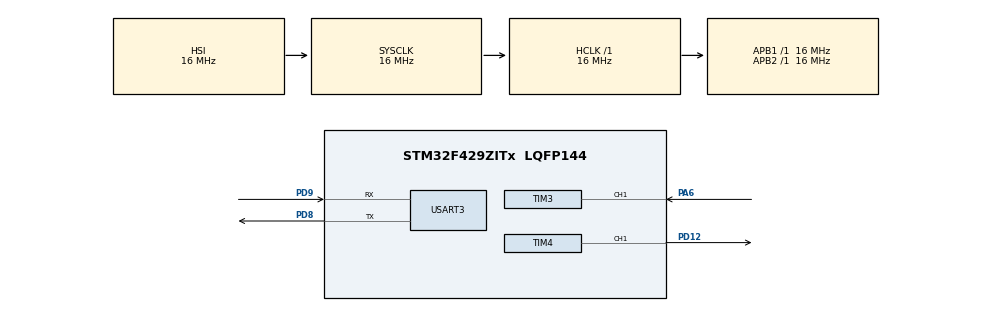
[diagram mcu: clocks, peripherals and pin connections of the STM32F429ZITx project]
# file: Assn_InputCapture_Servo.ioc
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Mcu.Family=STM32F4
Mcu.Name=STM32F429ZITx
Mcu.Package=LQFP144
NVIC.PriorityGroup=NVIC_PRIORITYGROUP_4
NVIC.TIM3_IRQn=true\:0\:0\:false\:true\:true\:2\:true\:true\:true
NVIC.TIM4_IRQn=true\:0\:0\:false\:true\:true\:3\:true\:true\:true
NVIC.USART3_IRQn=true\:0\:0\:false\:true\:true\:1\:true\:true\:true
PA6.Signal=S_TIM3_CH1
PD12.Signal=S_TIM4_CH1
PD8.Mode=Asynchronous
PD8.Signal=USART3_TX
PD9.Mode=Asynchronous
PD9.Signal=USART3_RX
ProjectManager.HeapSize=0x200
ProjectManager.StackSize=0x400
ProjectManager.TargetToolchain=STM32CubeIDE
RCC.AHBFreq_Value=16000000
RCC.APB1Freq_Value=16000000
RCC.APB2Freq_Value=16000000
RCC.CortexFreq_Value=16000000
RCC.HSE_VALUE=25000000
RCC.HSI_VALUE=16000000
RCC.LSE_VALUE=32768
RCC.SYSCLKFreq_VALUE=16000000
RCC.VCOOutputFreq_Value=192000000
SH.S_TIM3_CH1.0=TIM3_CH1,Input_Capture1_from_TI1
SH.S_TIM4_CH1.0=TIM4_CH1,PWM Generation1 CH1
TIM3.Channel-Input_Capture1_from_TI1=TIM_CHANNEL_1
TIM3.Channel-Input_Capture2_from_TI1_63=TIM_CHANNEL_2
TIM3.ICPolarity_CH2=TIM_INPUTCHANNELPOLARITY_FALLING
TIM3.Prescaler=15
TIM4.Channel-PWM\ Generation1\ CH1=TIM_CHANNEL_1
TIM4.Period=19999
TIM4.Prescaler=15
TIM4.Pulse-PWM\ Generation1\ CH1=499
USART3.VirtualMode=VM_ASYNC
VP_TIM3_VS_ClockSourceINT.Mode=Internal
VP_TIM3_VS_indirect_ch1.Mode=Input_Capture2_from_TI1_63
VP_TIM4_VS_ClockSourceINT.Mode=Internal
board=custom

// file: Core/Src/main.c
/* USER CODE BEGIN Header */
/**
  ******************************************************************************
  * @file           : main.c
  * @brief          : Main program body
  ******************************************************************************
  * @attention
  *
  * Copyright (c) 2024 STMicroelectronics.
  * All rights reserved.
  *
  * This software is licensed under terms that can be found in the LICENSE file
  * in the root directory of this software component.
  * If no LICENSE file comes with this software, it is provided AS-IS.
  *
  ******************************************************************************
  */
/* USER CODE END Header */
#include "main.h"

/* USER CODE BEGIN Includes */
#include <string.h>
#include <stdio.h>
/* USER CODE END Includes */

TIM_HandleTypeDef htim3;
TIM_HandleTypeDef htim4;

UART_HandleTypeDef huart3;

/* USER CODE BEGIN PV */
uint32_t c1, c2;
char tx_buf[30];
/* USER CODE END PV */

void SystemClock_Config(void);
static void MX_GPIO_Init(void);
static void MX_TIM3_Init(void);
static void MX_TIM4_Init(void);
static void MX_USART3_UART_Init(void);
static void MX_NVIC_Init(void);

int main(void)
{

  /* MCU Configuration--------------------------------------------------------*/

  /* Reset of all peripherals, Initializes the Flash interface and the Systick. */
  HAL_Init();

  /* Configure the system clock */
  SystemClock_Config();

  /* Initialize all configured peripherals */
  MX_GPIO_Init();
  MX_TIM3_Init();
  MX_TIM4_Init();
  MX_USART3_UART_Init();

  /* Initialize interrupts */
  MX_NVIC_Init();
  /* USER CODE BEGIN 2 */
  HAL_TIM_IC_Start_IT(&htim3, TIM_CHANNEL_1);
  HAL_TIM_IC_Start_IT(&htim3, TIM_CHANNEL_2);
  HAL_TIM_PWM_Start(&htim4, TIM_CHANNEL_1);
  /* USER CODE END 2 */

  /* Infinite loop */
  /* USER CODE BEGIN WHILE */
//  int pwm = 500;
  while (1)
  {
	  //TIM3->CNT = 0;
//	  TIM4->CCR1 = pwm - 1;
//	  if(++pwm == 2500) pwm = 500;
//	  HAL_Delay(10);
    /* USER CODE END WHILE */

  }
}

void SystemClock_Config(void)
{
  RCC_OscInitTypeDef RCC_OscInitStruct = {0};
  RCC_ClkInitTypeDef RCC_ClkInitStruct = {0};

  /** Configure the main internal regulator output voltage
  */
  __HAL_RCC_PWR_CLK_ENABLE();
  __HAL_PWR_VOLTAGESCALING_CONFIG(PWR_REGULATOR_VOLTAGE_SCALE3);

  /** Initializes the RCC Oscillators according to the specified parameters
  * in the RCC_OscInitTypeDef structure.
  */
  RCC_OscInitStruct.OscillatorType = RCC_OSCILLATORTYPE_HSI;
  RCC_OscInitStruct.HSIState = RCC_HSI_ON;
  RCC_OscInitStruct.HSICalibrationValue = RCC_HSICALIBRATION_DEFAULT;
  RCC_OscInitStruct.PLL.PLLState = RCC_PLL_NONE;
  if (HAL_RCC_OscConfig(&RCC_OscInitStruct) != HAL_OK)
  {
    Error_Handler();
  }

  /** Initializes the CPU, AHB and APB buses clocks
  */
  RCC_ClkInitStruct.ClockType = RCC_CLOCKTYPE_HCLK|RCC_CLOCKTYPE_SYSCLK
                              |RCC_CLOCKTYPE_PCLK1|RCC_CLOCKTYPE_PCLK2;
  RCC_ClkInitStruct.SYSCLKSource = RCC_SYSCLKSOURCE_HSI;
  RCC_ClkInitStruct.AHBCLKDivider = RCC_SYSCLK_DIV1;
  RCC_ClkInitStruct.APB1CLKDivider = RCC_HCLK_DIV1;
  RCC_ClkInitStruct.APB2CLKDivider = RCC_HCLK_DIV1;

  if (HAL_RCC_ClockConfig(&RCC_ClkInitStruct, FLASH_LATENCY_0) != HAL_OK)
  {
    Error_Handler();
  }
}

/**
  * @brief NVIC Configuration.
  * @retval None
  */
static void MX_NVIC_Init(void)
{
  /* USART3_IRQn interrupt configuration */
  HAL_NVIC_SetPriority(USART3_IRQn, 0, 0);
  HAL_NVIC_EnableIRQ(USART3_IRQn);
  /* TIM3_IRQn interrupt configuration */
  HAL_NVIC_SetPriority(TIM3_IRQn, 0, 0);
  HAL_NVIC_EnableIRQ(TIM3_IRQn);
  /* TIM4_IRQn interrupt configuration */
  HAL_NVIC_SetPriority(TIM4_IRQn, 0, 0);
  HAL_NVIC_EnableIRQ(TIM4_IRQn);
}

static void MX_TIM3_Init(void)
{

  TIM_ClockConfigTypeDef sClockSourceConfig = {0};
  TIM_MasterConfigTypeDef sMasterConfig = {0};
  TIM_IC_InitTypeDef sConfigIC = {0};

  htim3.Instance = TIM3;
  htim3.Init.Prescaler = 15;
  htim3.Init.CounterMode = TIM_COUNTERMODE_UP;
  htim3.Init.Period = 65535;
  htim3.Init.ClockDivision = TIM_CLOCKDIVISION_DIV1;
  htim3.Init.AutoReloadPreload = TIM_AUTORELOAD_PRELOAD_DISABLE;
  if (HAL_TIM_Base_Init(&htim3) != HAL_OK)
  {
    Error_Handler();
  }
  sClockSourceConfig.ClockSource = TIM_CLOCKSOURCE_INTERNAL;
  if (HAL_TIM_ConfigClockSource(&htim3, &sClockSourceConfig) != HAL_OK)
  {
    Error_Handler();
  }
  if (HAL_TIM_IC_Init(&htim3) != HAL_OK)
  {
    Error_Handler();
  }
  sMasterConfig.MasterOutputTrigger = TIM_TRGO_RESET;
  sMasterConfig.MasterSlaveMode = TIM_MASTERSLAVEMODE_DISABLE;
  if (HAL_TIMEx_MasterConfigSynchronization(&htim3, &sMasterConfig) != HAL_OK)
  {
    Error_Handler();
  }
  sConfigIC.ICPolarity = TIM_INPUTCHANNELPOLARITY_RISING;
  sConfigIC.ICSelection = TIM_ICSELECTION_DIRECTTI;
  sConfigIC.ICPrescaler = TIM_ICPSC_DIV1;
  sConfigIC.ICFilter = 0;
  if (HAL_TIM_IC_ConfigChannel(&htim3, &sConfigIC, TIM_CHANNEL_1) != HAL_OK)
  {
    Error_Handler();
  }
  sConfigIC.ICPolarity = TIM_INPUTCHANNELPOLARITY_FALLING;
  sConfigIC.ICSelection = TIM_ICSELECTION_INDIRECTTI;
  if (HAL_TIM_IC_ConfigChannel(&htim3, &sConfigIC, TIM_CHANNEL_2) != HAL_OK)
  {
    Error_Handler();
  }

}

static void MX_TIM4_Init(void)
{

  TIM_ClockConfigTypeDef sClockSourceConfig = {0};
  TIM_MasterConfigTypeDef sMasterConfig = {0};
  TIM_OC_InitTypeDef sConfigOC = {0};

  htim4.Instance = TIM4;
  htim4.Init.Prescaler = 15;
  htim4.Init.CounterMode = TIM_COUNTERMODE_UP;
  htim4.Init.Period = 19999;
  htim4.Init.ClockDivision = TIM_CLOCKDIVISION_DIV1;
  htim4.Init.AutoReloadPreload = TIM_AUTORELOAD_PRELOAD_DISABLE;
  if (HAL_TIM_Base_Init(&htim4) != HAL_OK)
  {
    Error_Handler();
  }
  sClockSourceConfig.ClockSource = TIM_CLOCKSOURCE_INTERNAL;
  if (HAL_TIM_ConfigClockSource(&htim4, &sClockSourceConfig) != HAL_OK)
  {
    Error_Handler();
  }
  if (HAL_TIM_PWM_Init(&htim4) != HAL_OK)
  {
    Error_Handler();
  }
  sMasterConfig.MasterOutputTrigger = TIM_TRGO_RESET;
  sMasterConfig.MasterSlaveMode = TIM_MASTERSLAVEMODE_DISABLE;
  if (HAL_TIMEx_MasterConfigSynchronization(&htim4, &sMasterConfig) != HAL_OK)
  {
    Error_Handler();
  }
  sConfigOC.OCMode = TIM_OCMODE_PWM1;
  sConfigOC.Pulse = 499;
  sConfigOC.OCPolarity = TIM_OCPOLARITY_HIGH;
  sConfigOC.OCFastMode = TIM_OCFAST_DISABLE;
  if (HAL_TIM_PWM_ConfigChannel(&htim4, &sConfigOC, TIM_CHANNEL_1) != HAL_OK)
  {
    Error_Handler();
  }
  HAL_TIM_MspPostInit(&htim4);

}

static void MX_USART3_UART_Init(void)
{

  huart3.Instance = USART3;
  huart3.Init.BaudRate = 115200;
  huart3.Init.WordLength = UART_WORDLENGTH_8B;
  huart3.Init.StopBits = UART_STOPBITS_1;
  huart3.Init.Parity = UART_PARITY_NONE;
  huart3.Init.Mode = UART_MODE_TX_RX;
  huart3.Init.HwFlowCtl = UART_HWCONTROL_NONE;
  huart3.Init.OverSampling = UART_OVERSAMPLING_16;
  if (HAL_UART_Init(&huart3) != HAL_OK)
  {
    Error_Handler();
  }

}

static void MX_GPIO_Init(void)
{

  /* GPIO Ports Clock Enable */
  __HAL_RCC_GPIOA_CLK_ENABLE();
  __HAL_RCC_GPIOD_CLK_ENABLE();

}

/* USER CODE BEGIN 4 */
void HAL_TIM_IC_CaptureCallback(TIM_HandleTypeDef *htim)
{
	if(htim->Instance == TIM3) {
		if(htim->Channel == HAL_TIM_ACTIVE_CHANNEL_1) {
			c1 = TIM3->CCR1;
		}
		else if(htim->Channel == HAL_TIM_ACTIVE_CHANNEL_2) {
			c2 = TIM3->CCR2;
			TIM3->CNT = 0;
			sprintf(tx_buf, "CCR1 = %d, CCR2 = %d >> %d\r\n", c1, c2, c2 - c1);
			HAL_UART_Transmit(&huart3, (uint8_t*)tx_buf, strlen(tx_buf), 100);
		}
	}
}
/* USER CODE END 4 */

void Error_Handler(void)
{
  __disable_irq();
  while (1)
  {
  }
}
